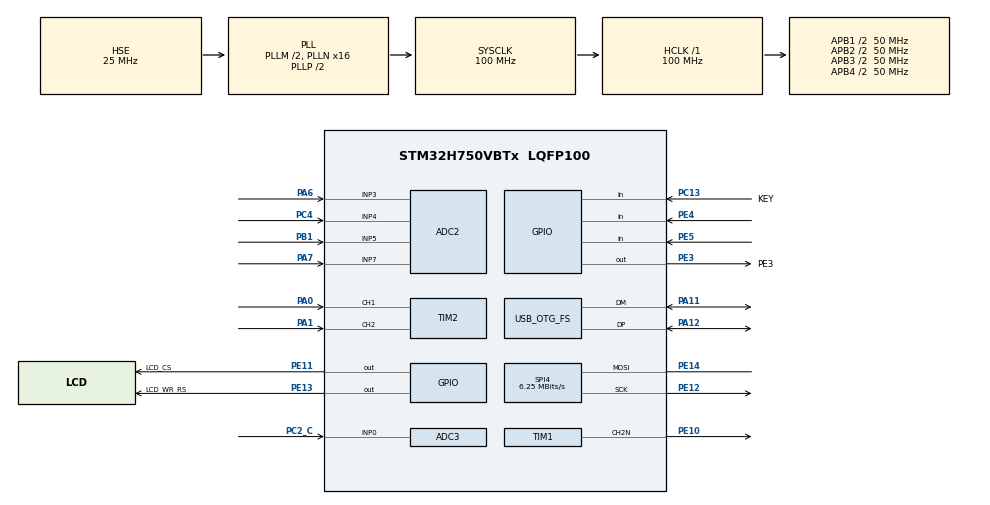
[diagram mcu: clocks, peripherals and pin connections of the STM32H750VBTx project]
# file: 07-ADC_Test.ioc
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ADC2.Channel-0\#ChannelRegularConversion=ADC_CHANNEL_3
ADC2.Channel-1\#ChannelRegularConversion=ADC_CHANNEL_4
ADC2.Channel-2\#ChannelRegularConversion=ADC_CHANNEL_5
ADC2.Channel-3\#ChannelRegularConversion=ADC_CHANNEL_7
ADC2.DiscontinuousConvMode=ENABLE
ADC2.NbrOfConversion=4
ADC2.NbrOfConversionFlag=1
ADC2.OffsetNumber-0\#ChannelRegularConversion=ADC_OFFSET_NONE
ADC2.OffsetNumber-1\#ChannelRegularConversion=ADC_OFFSET_NONE
ADC2.OffsetNumber-2\#ChannelRegularConversion=ADC_OFFSET_NONE
ADC2.OffsetNumber-3\#ChannelRegularConversion=ADC_OFFSET_NONE
ADC2.OffsetSignedSaturation-0\#ChannelRegularConversion=DISABLE
ADC2.OffsetSignedSaturation-1\#ChannelRegularConversion=DISABLE
ADC2.OffsetSignedSaturation-2\#ChannelRegularConversion=DISABLE
ADC2.OffsetSignedSaturation-3\#ChannelRegularConversion=DISABLE
ADC2.Rank-0\#ChannelRegularConversion=1
ADC2.Rank-1\#ChannelRegularConversion=2
ADC2.Rank-2\#ChannelRegularConversion=3
ADC2.Rank-3\#ChannelRegularConversion=4
ADC2.SamplingTime-0\#ChannelRegularConversion=ADC_SAMPLETIME_387CYCLES_5
ADC2.SamplingTime-1\#ChannelRegularConversion=ADC_SAMPLETIME_387CYCLES_5
ADC2.SamplingTime-2\#ChannelRegularConversion=ADC_SAMPLETIME_387CYCLES_5
ADC2.SamplingTime-3\#ChannelRegularConversion=ADC_SAMPLETIME_387CYCLES_5
ADC3.Channel-0\#ChannelRegularConversion=ADC_CHANNEL_0
ADC3.Channel-1\#ChannelRegularConversion=ADC_CHANNEL_VREFINT
ADC3.Channel-2\#ChannelRegularConversion=ADC_CHANNEL_TEMPSENSOR
ADC3.Channel-3\#ChannelRegularConversion=ADC_CHANNEL_VBAT
ADC3.ContinuousConvMode=DISABLE
ADC3.DiscontinuousConvMode=ENABLE
ADC3.NbrOfConversion=4
ADC3.NbrOfConversionFlag=1
ADC3.OffsetNumber-0\#ChannelRegularConversion=ADC_OFFSET_NONE
ADC3.OffsetNumber-1\#ChannelRegularConversion=ADC_OFFSET_NONE
ADC3.OffsetNumber-2\#ChannelRegularConversion=ADC_OFFSET_NONE
ADC3.OffsetNumber-3\#ChannelRegularConversion=ADC_OFFSET_NONE
ADC3.Rank-0\#ChannelRegularConversion=1
ADC3.Rank-1\#ChannelRegularConversion=2
ADC3.Rank-2\#ChannelRegularConversion=3
ADC3.Rank-3\#ChannelRegularConversion=4
ADC3.SamplingTime-0\#ChannelRegularConversion=ADC_SAMPLETIME_387CYCLES_5
ADC3.SamplingTime-1\#ChannelRegularConversion=ADC_SAMPLETIME_387CYCLES_5
ADC3.SamplingTime-2\#ChannelRegularConversion=ADC_SAMPLETIME_387CYCLES_5
ADC3.SamplingTime-3\#ChannelRegularConversion=ADC_SAMPLETIME_387CYCLES_5
Mcu.Family=STM32H7
Mcu.Name=STM32H750VBTx
Mcu.Package=LQFP100
NVIC.OTG_FS_IRQn=true\:0\:0\:false\:false\:true\:false\:true\:true
NVIC.PriorityGroup=NVIC_PRIORITYGROUP_4
NVIC.TIM2_IRQn=true\:0\:0\:false\:false\:true\:true\:true\:true
PA0.Signal=S_TIM2_CH1_ETR
PA1.Signal=S_TIM2_CH2
PA11.Mode=Device_Only
PA11.Signal=USB_OTG_FS_DM
PA12.Mode=Device_Only
PA12.Signal=USB_OTG_FS_DP
PA13\ (JTMS/SWDIO).Mode=Serial_Wire
PA13\ (JTMS/SWDIO).Signal=DEBUG_JTMS-SWDIO
PA14\ (JTCK/SWCLK).Mode=Serial_Wire
PA14\ (JTCK/SWCLK).Signal=DEBUG_JTCK-SWCLK
PA6.Signal=ADCx_INP3
PA7.Signal=ADCx_INP7
PB1.Signal=ADCx_INP5
PC13.GPIO_Label=KEY
PC13.GPIO_PuPd=GPIO_PULLDOWN
PC13.Signal=GPIO_Input
PC14-OSC32_IN\ (OSC32_IN).Mode=LSE-External-Oscillator
PC14-OSC32_IN\ (OSC32_IN).Signal=RCC_OSC32_IN
PC15-OSC32_OUT\ (OSC32_OUT).Mode=LSE-External-Oscillator
PC15-OSC32_OUT\ (OSC32_OUT).Signal=RCC_OSC32_OUT
PC2_C.Mode=IN0-Single-Ended
PC2_C.Signal=ADC3_INP0
PC4.Signal=ADCx_INP4
PE10.Mode=PWM Generation2 CH2N
PE10.Signal=TIM1_CH2N
PE11.GPIO_Label=LCD_CS
PE11.GPIO_Speed=GPIO_SPEED_FREQ_VERY_HIGH
PE11.PinState=GPIO_PIN_SET
PE11.Signal=GPIO_Output
PE12.GPIO_Speed=GPIO_SPEED_FREQ_MEDIUM
PE12.Mode=Simplex_Bidirectional_Master
PE12.Signal=SPI4_SCK
PE13.GPIO_Label=LCD_WR_RS
PE13.GPIO_Speed=GPIO_SPEED_FREQ_VERY_HIGH
PE13.PinState=GPIO_PIN_SET
PE13.Signal=GPIO_Output
PE14.GPIO_Speed=GPIO_SPEED_FREQ_MEDIUM
PE14.Mode=Simplex_Bidirectional_Master
PE14.Signal=SPI4_MOSI
PE3.GPIO_Label=PE3
PE3.Signal=GPIO_Output
PE4.Signal=GPIO_Input
PE5.Signal=GPIO_Input
PH0-OSC_IN\ (PH0).Mode=HSE-External-Oscillator
PH0-OSC_IN\ (PH0).Signal=RCC_OSC_IN
PH1-OSC_OUT\ (PH1).Mode=HSE-External-Oscillator
PH1-OSC_OUT\ (PH1).Signal=RCC_OSC_OUT
ProjectManager.HeapSize=0x200
ProjectManager.StackSize=0x400
ProjectManager.TargetToolchain=STM32CubeIDE
RCC.ADCCLockSelection=RCC_ADCCLKSOURCE_PLL3
RCC.ADCFreq_Value=75000000
RCC.APB1Freq_Value=50000000
RCC.APB2Freq_Value=50000000
RCC.APB3Freq_Value=50000000
RCC.APB4Freq_Value=50000000
RCC.CortexFreq_Value=100000000
RCC.D1PPRE=RCC_APB3_DIV2
RCC.D2PPRE1=RCC_APB1_DIV2
RCC.D2PPRE2=RCC_APB2_DIV2
RCC.D3PPRE=RCC_APB4_DIV2
RCC.DIVM1=2
RCC.DIVM2=4
RCC.DIVM3=2
RCC.DIVN1=16
RCC.DIVN2=9
RCC.DIVN3=12
RCC.DIVP2=1
RCC.DIVQ1=4
RCC.HCLKFreq_Value=100000000
RCC.PLL2FRACN=3072
RCC.PLL3FRACN=0
RCC.PLLFRACN=0
RCC.PLLSourceVirtual=RCC_PLLSOURCE_HSE
RCC.PWR_Regulator_Voltage_Scale=PWR_REGULATOR_VOLTAGE_SCALE1
RCC.SYSCLKFreq_VALUE=100000000
RCC.SYSCLKSource=RCC_SYSCLKSOURCE_PLLCLK
RCC.USBFreq_Value=50000000
SH.ADCx_INP3.0=ADC2_INP3,IN3-Single-Ended
SH.ADCx_INP4.0=ADC2_INP4,IN4-Single-Ended
SH.ADCx_INP5.0=ADC2_INP5,IN5-Single-Ended
SH.ADCx_INP7.0=ADC2_INP7,IN7-Single-Ended
SH.S_TIM2_CH1_ETR.0=TIM2_CH1,Encoder_Interface
SH.S_TIM2_CH2.0=TIM2_CH2,Encoder_Interface
SPI4.BaudRatePrescaler=SPI_BAUDRATEPRESCALER_8
SPI4.CalculateBaudRate=6.25 MBits/s
SPI4.DataSize=SPI_DATASIZE_8BIT
SPI4.Direction=SPI_DIRECTION_1LINE
SPI4.Mode=SPI_MODE_MASTER
SPI4.VirtualType=VM_MASTER
TIM1.Channel-PWM\ Generation2\ CH2N=TIM_CHANNEL_2
TIM1.OCNPolarity_2=TIM_OCNPOLARITY_LOW
TIM1.Period=1000-1
TIM1.Prescaler=12-1
TIM2.EncoderMode=TIM_ENCODERMODE_TI12
TIM2.IC1Filter=5
TIM2.IC1Polarity=TIM_ICPOLARITY_FALLING
USB_DEVICE.CLASS_NAME_FS=CDC
USB_DEVICE.VirtualMode-CDC_FS=Cdc
USB_DEVICE.VirtualModeFS=Cdc_FS
USB_OTG_FS.VirtualMode=Device_Only
VP_ADC3_TempSens_Input.Mode=IN-TempSens
VP_ADC3_Vbat_Input.Mode=IN-Vbat
VP_ADC3_Vref_Input.Mode=IN-Vrefint
VP_USB_DEVICE_VS_USB_DEVICE_CDC_FS.Mode=CDC_FS
VP_VREFBUF_V_VREFBUF.Mode=ExternalMode
board=custom

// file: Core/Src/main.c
/* USER CODE BEGIN Header */
/**
  ******************************************************************************
  * @file           : main.c
  * @brief          : Main program body
  ******************************************************************************
  * @attention
  *
  * <h2><center>&copy; Copyright (c) 2020 STMicroelectronics.
  * All rights reserved.</center></h2>
  *
  * This software component is licensed by ST under BSD 3-Clause license,
  * the "License"; You may not use this file except in compliance with the
  * License. You may obtain a copy of the License at:
  *                        opensource.org/licenses/BSD-3-Clause
  *
  ******************************************************************************
  */
/* USER CODE END Header */
#include "main.h"
#include "adc.h"
#include "spi.h"
#include "tim.h"
#include "usb_device.h"
#include "gpio.h"
#include "stm32h7xx_hal_tim.h"
/* USER CODE BEGIN Includes */
#include "lcd.h"
#include <stdio.h>
/* USER CODE END Includes */
#define BUFFER_SIZE 20

void SystemClock_Config(void);
void PeriphCommonClock_Config(void);
/* USER CODE BEGIN PFP */
__IO uint16_t uhADCxConvertedValue[4];
__IO uint32_t uhADCxInputVoltage[4];
uint32_t adc3_inp0,vbat,tempsensor,vrefint;
__IO uint16_t adcConvertValue[4];
__IO uint32_t adcInputVoltage[4];
uint32_t dadoadc1,dadoadc2,dadoadc3,dadoadc4;

/* USER CODE END PFP */

/* USER CODE BEGIN 0 */

static void MPU_Config(void)
{
  MPU_Region_InitTypeDef MPU_InitStruct = {0};

  /* Disables the MPU */
  HAL_MPU_Disable();

  /* Configure the MPU attributes for the QSPI 256MB without instruction access */
  MPU_InitStruct.Enable           = MPU_REGION_ENABLE;
  MPU_InitStruct.Number           = MPU_REGION_NUMBER0;
  MPU_InitStruct.BaseAddress      = QSPI_BASE;
  MPU_InitStruct.Size             = MPU_REGION_SIZE_256MB;
  MPU_InitStruct.AccessPermission = MPU_REGION_NO_ACCESS;
  MPU_InitStruct.IsBufferable     = MPU_ACCESS_NOT_BUFFERABLE;
  MPU_InitStruct.IsCacheable      = MPU_ACCESS_NOT_CACHEABLE;
  MPU_InitStruct.IsShareable      = MPU_ACCESS_NOT_SHAREABLE;
  MPU_InitStruct.DisableExec      = MPU_INSTRUCTION_ACCESS_DISABLE;
  MPU_InitStruct.TypeExtField     = MPU_TEX_LEVEL1;
  MPU_InitStruct.SubRegionDisable = 0x00;
  HAL_MPU_ConfigRegion(&MPU_InitStruct);

  /* Configure the MPU attributes for the QSPI 8MB (QSPI Flash Size) to Cacheable WT */
  MPU_InitStruct.Enable           = MPU_REGION_ENABLE;
  MPU_InitStruct.Number           = MPU_REGION_NUMBER1;
  MPU_InitStruct.BaseAddress      = QSPI_BASE;
  MPU_InitStruct.Size             = MPU_REGION_SIZE_8MB;
  MPU_InitStruct.AccessPermission = MPU_REGION_PRIV_RO;
  MPU_InitStruct.IsBufferable     = MPU_ACCESS_BUFFERABLE;
  MPU_InitStruct.IsCacheable      = MPU_ACCESS_CACHEABLE;
  MPU_InitStruct.IsShareable      = MPU_ACCESS_NOT_SHAREABLE;
  MPU_InitStruct.DisableExec      = MPU_INSTRUCTION_ACCESS_ENABLE;
  MPU_InitStruct.TypeExtField     = MPU_TEX_LEVEL1;
  MPU_InitStruct.SubRegionDisable = 0x00;
  HAL_MPU_ConfigRegion(&MPU_InitStruct);

  /* Enables the MPU */
  HAL_MPU_Enable(MPU_PRIVILEGED_DEFAULT);
}

static void CPU_CACHE_Enable(void)
{
  /* Enable I-Cache */
  SCB_EnableICache();

  /* Enable D-Cache */
  SCB_EnableDCache();
}

void LED_Pisca(uint32_t delay)
{
	HAL_GPIO_WritePin(PE3_GPIO_Port,PE3_Pin,GPIO_PIN_SET);
	HAL_Delay(delay);
	HAL_GPIO_WritePin(PE3_GPIO_Port,PE3_Pin,GPIO_PIN_RESET);
	HAL_Delay(delay);
}
/* USER CODE END 0 */

int main(void)
{

  /* USER CODE BEGIN 1 */
  #ifdef W25Qxx
    SCB->VTOR = QSPI_BASE;
  #endif
  MPU_Config();
  CPU_CACHE_Enable();
  /* USER CODE END 1 */

  /* MCU Configuration--------------------------------------------------------*/

  /* Reset of all peripherals, Initializes the Flash interface and the Systick. */
  HAL_Init();

  /* Configure the system clock */
  SystemClock_Config();

/* Configure the peripherals common clocks */
  PeriphCommonClock_Config();

  /* Initialize all configured peripherals */
  MX_GPIO_Init();
  MX_ADC3_Init();
  MX_SPI4_Init();
  MX_TIM1_Init();
  MX_ADC2_Init();
  MX_USB_DEVICE_Init();
  MX_TIM2_Init();
  /* USER CODE BEGIN 2 */

  int counterValue = 0;
  int pastCounterValue = 0;
  int dadoEncoder = 0;
  uint8_t dadoencoder[20];

  LCD_Test();

	/* Run the ADC calibration in single-ended mode */
  if (HAL_ADCEx_Calibration_Start(&hadc3, ADC_CALIB_OFFSET, ADC_SINGLE_ENDED) != HAL_OK)
  {
    /* Calibration Error */
    Error_Handler();
  }

  if (HAL_ADCEx_Calibration_Start(&hadc2, ADC_CALIB_OFFSET, ADC_SINGLE_ENDED) != HAL_OK)
    {
      /* Calibration Error */
      Error_Handler();
    }

  /* USER CODE END 2 */

  /* Infinite loop */
  /* USER CODE BEGIN WHILE */

HAL_TIM_Encoder_Start(&htim2, TIM_CHANNEL_ALL);
  while (1)
  {
    /* USER CODE END WHILE */
	  counterValue = TIM2 -> CNT;
	  if (counterValue != pastCounterValue){
		  dadoEncoder = counterValue;

	  }
	  pastCounterValue = counterValue;
    /* USER CODE BEGIN 3 */
		for(uint32_t i = 0;i<(sizeof(uhADCxConvertedValue)/sizeof(uint16_t));i++)
		{
			/*##-1- Start the conversion process #######################################*/
			if (HAL_ADC_Start(&hadc3) != HAL_OK)
			{
				/* Start Conversation Error */
				Error_Handler();
			}
			/*##-2- Wait for the end of conversion #####################################*/
			/*  For simplicity reasons, this example is just waiting till the end of the
					conversion, but application may perform other tasks while conversion
					operation is ongoing. */
			if (HAL_ADC_PollForConversion(&hadc3,HAL_MAX_DELAY) != HAL_OK)
			{
				/* End Of Conversion flag not set on time */
				Error_Handler();
			}
			else
			{
				/* ADC conversion completed */
				/*##-3- Get the converted value of regular channel  ########################*/
				uhADCxConvertedValue[i] = HAL_ADC_GetValue(&hadc3);

				/* Convert the result from 16 bit value to the voltage dimension (mV unit) */
				/* Vref = 3.3 V */
				uhADCxInputVoltage[i] = ((uhADCxConvertedValue[i] * 3300) / 0xFFFF);
			}
		}
		HAL_ADC_Stop(&hadc3);

		for(uint32_t i = 0;i<(sizeof(adcConvertValue)/sizeof(uint16_t));i++)
		{
			/*##-1- Start the conversion process #######################################*/
			if (HAL_ADC_Start(&hadc2) != HAL_OK)
			{
				/* Start Conversation Error */
				Error_Handler();
			}
			/*##-2- Wait for the end of conversion #####################################*/
			/*  For simplicity reasons, this example is just waiting till the end of the
				    conversion, but application may perform other tasks while conversion
					operation is ongoing. */
			if (HAL_ADC_PollForConversion(&hadc2,HAL_MAX_DELAY) != HAL_OK)
			{
				/* End Of Conversion flag not set on time */
				Error_Handler();
			}
			else
			{
				/* ADC conversion completed */
				/*##-3- Get the converted value of regular channel  ########################*/
				adcConvertValue[i] = HAL_ADC_GetValue(&hadc2);

				/* Convert the result from 16 bit value to the voltage dimension (mV unit) */
				/* Vref = 3.3 V */
				adcInputVoltage[i] = ((adcConvertValue[i] * 3300) / 0xFFFF);
			}
		}
		HAL_ADC_Stop(&hadc2);

		dadoadc1 = adcInputVoltage[0];
		dadoadc2 = adcInputVoltage[1];
		dadoadc3 = adcInputVoltage[2];
		dadoadc4 = adcInputVoltage[3];

		#define V30  (620)  // mV, V30: 0.62V,datasheet P278
		#define Avg_Slope (2) // mV/��C

		adc3_inp0  = uhADCxInputVoltage[0]; // mv
		vrefint    = uhADCxInputVoltage[1]; // type. 1200mV
		tempsensor = ((int32_t)uhADCxInputVoltage[2] - V30)/Avg_Slope + 30; // ��C
		vbat       = uhADCxInputVoltage[3] * 4;

		uint8_t text[20];
		uint8_t dados[30];
		sprintf((char *)&text, "ADC1:%4dmV ADC2:%4dmV", dadoadc1, dadoadc2);
		LCD_ShowString(4, 22, ST7735Ctx.Width, 16, 12, text);
	    //sprintf((char *)&text, " PC2: %4dmV Vref: %4dmV", adc3_inp0, vrefint);
		sprintf((char *)&text, "ADC3:%4dmV ADC4:%4dmV", dadoadc3, dadoEncoder);
		LCD_ShowString(4, 40, ST7735Ctx.Width, 16, 12, text);
		sprintf((char *)&text, "temp: %3d 'C vbat: %4dmV", tempsensor, vbat);
		LCD_ShowString(4, 58, ST7735Ctx.Width, 16, 12, text);
		sprintf((char *)&dados, "ADC1:%4dmV\r\n",dadoadc1);
		CDC_Transmit_FS(dados,strlen(dados));

		//sprintf((char *)dadoencoder, "Dado do Encoder: %.2f", dadoEncoder);
		//LCD_ShowString(4, 40, ST7735Ctx.Width, 16, 12, dadoencoder);

		LED_Pisca(10);
  }
  /* USER CODE END 3 */
}

void SystemClock_Config(void)
{
  RCC_OscInitTypeDef RCC_OscInitStruct = {0};
  RCC_ClkInitTypeDef RCC_ClkInitStruct = {0};

  /** Supply configuration update enable
  */
  HAL_PWREx_ConfigSupply(PWR_LDO_SUPPLY);

  /** Configure the main internal regulator output voltage
  */
  __HAL_PWR_VOLTAGESCALING_CONFIG(PWR_REGULATOR_VOLTAGE_SCALE1);

  while(!__HAL_PWR_GET_FLAG(PWR_FLAG_VOSRDY)) {}

  /** Initializes the RCC Oscillators according to the specified parameters
  * in the RCC_OscInitTypeDef structure.
  */
  RCC_OscInitStruct.OscillatorType = RCC_OSCILLATORTYPE_HSE;
  RCC_OscInitStruct.HSEState = RCC_HSE_ON;
  RCC_OscInitStruct.PLL.PLLState = RCC_PLL_ON;
  RCC_OscInitStruct.PLL.PLLSource = RCC_PLLSOURCE_HSE;
  RCC_OscInitStruct.PLL.PLLM = 2;
  RCC_OscInitStruct.PLL.PLLN = 16;
  RCC_OscInitStruct.PLL.PLLP = 2;
  RCC_OscInitStruct.PLL.PLLQ = 4;
  RCC_OscInitStruct.PLL.PLLR = 2;
  RCC_OscInitStruct.PLL.PLLRGE = RCC_PLL1VCIRANGE_3;
  RCC_OscInitStruct.PLL.PLLVCOSEL = RCC_PLL1VCOWIDE;
  RCC_OscInitStruct.PLL.PLLFRACN = 0;
  if (HAL_RCC_OscConfig(&RCC_OscInitStruct) != HAL_OK)
  {
    Error_Handler();
  }

  /** Initializes the CPU, AHB and APB buses clocks
  */
  RCC_ClkInitStruct.ClockType = RCC_CLOCKTYPE_HCLK|RCC_CLOCKTYPE_SYSCLK
                              |RCC_CLOCKTYPE_PCLK1|RCC_CLOCKTYPE_PCLK2
                              |RCC_CLOCKTYPE_D3PCLK1|RCC_CLOCKTYPE_D1PCLK1;
  RCC_ClkInitStruct.SYSCLKSource = RCC_SYSCLKSOURCE_PLLCLK;
  RCC_ClkInitStruct.SYSCLKDivider = RCC_SYSCLK_DIV1;
  RCC_ClkInitStruct.AHBCLKDivider = RCC_HCLK_DIV1;
  RCC_ClkInitStruct.APB3CLKDivider = RCC_APB3_DIV2;
  RCC_ClkInitStruct.APB1CLKDivider = RCC_APB1_DIV2;
  RCC_ClkInitStruct.APB2CLKDivider = RCC_APB2_DIV2;
  RCC_ClkInitStruct.APB4CLKDivider = RCC_APB4_DIV2;

  if (HAL_RCC_ClockConfig(&RCC_ClkInitStruct, FLASH_LATENCY_1) != HAL_OK)
  {
    Error_Handler();
  }
}

void PeriphCommonClock_Config(void)
{
  RCC_PeriphCLKInitTypeDef PeriphClkInitStruct = {0};

  /** Initializes the peripherals clock
  */
  PeriphClkInitStruct.PeriphClockSelection = RCC_PERIPHCLK_ADC;
  PeriphClkInitStruct.PLL3.PLL3M = 2;
  PeriphClkInitStruct.PLL3.PLL3N = 12;
  PeriphClkInitStruct.PLL3.PLL3P = 2;
  PeriphClkInitStruct.PLL3.PLL3Q = 2;
  PeriphClkInitStruct.PLL3.PLL3R = 2;
  PeriphClkInitStruct.PLL3.PLL3RGE = RCC_PLL3VCIRANGE_3;
  PeriphClkInitStruct.PLL3.PLL3VCOSEL = RCC_PLL3VCOMEDIUM;
  PeriphClkInitStruct.PLL3.PLL3FRACN = 0;
  PeriphClkInitStruct.AdcClockSelection = RCC_ADCCLKSOURCE_PLL3;
  if (HAL_RCCEx_PeriphCLKConfig(&PeriphClkInitStruct) != HAL_OK)
  {
    Error_Handler();
  }
}

void Error_Handler(void)
{
  /* USER CODE BEGIN Error_Handler_Debug */
  /* User can add his own implementation to report the HAL error return state */
  while(1)
		LED_Pisca(500);
  /* USER CODE END Error_Handler_Debug */
}
